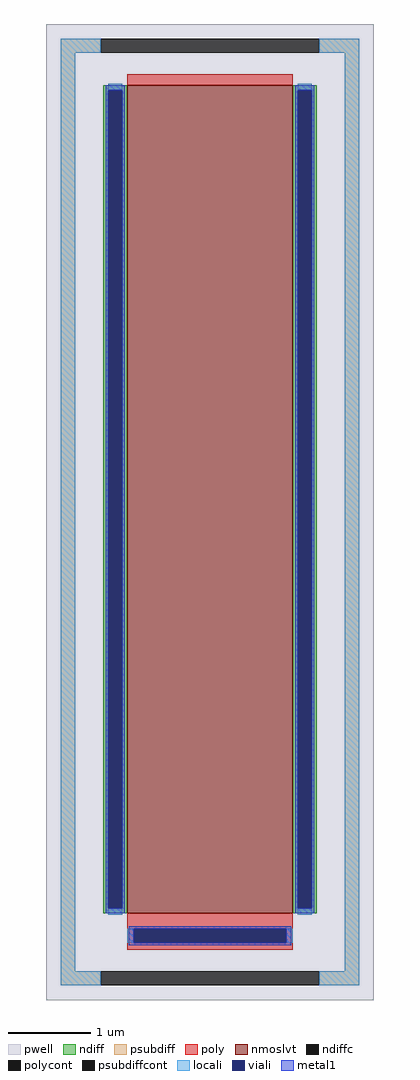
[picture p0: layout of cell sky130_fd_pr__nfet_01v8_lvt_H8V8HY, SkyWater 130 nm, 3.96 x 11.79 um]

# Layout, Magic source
magic
tech sky130A
magscale 1 2
<< pwell >>
rect -396 -1179 396 1179
<< nmoslvt >>
rect -200 -969 200 1031
<< ndiff >>
rect -258 1019 -200 1031
rect -258 -957 -246 1019
rect -212 -957 -200 1019
rect -258 -969 -200 -957
rect 200 1019 258 1031
rect 200 -957 212 1019
rect 246 -957 258 1019
rect 200 -969 258 -957
<< ndiffc >>
rect -246 -957 -212 1019
rect 212 -957 246 1019
<< psubdiff >>
rect -360 1109 -264 1143
rect 264 1109 360 1143
rect -360 -1109 -326 1109
rect 326 -1109 360 1109
rect -360 -1143 -264 -1109
rect 264 -1143 360 -1109
<< psubdiffcont >>
rect -264 1109 264 1143
rect -264 -1143 264 -1109
<< poly >>
rect -200 1031 200 1057
rect -200 -1007 200 -969
rect -200 -1041 -184 -1007
rect 184 -1041 200 -1007
rect -200 -1057 200 -1041
<< polycont >>
rect -184 -1041 184 -1007
<< locali >>
rect -360 1109 -264 1143
rect 264 1109 360 1143
rect -360 -1109 -326 1109
rect -246 1019 -212 1035
rect -246 -973 -212 -957
rect 212 1019 246 1035
rect 212 -973 246 -957
rect -200 -1041 -184 -1007
rect 184 -1041 200 -1007
rect 326 -1109 360 1109
rect -360 -1143 -264 -1109
rect 264 -1143 360 -1109
<< viali >>
rect -246 -957 -212 1019
rect 212 -957 246 1019
rect -184 -1041 184 -1007
<< metal1 >>
rect -252 1019 -206 1031
rect -252 -957 -246 1019
rect -212 -957 -206 1019
rect -252 -969 -206 -957
rect 206 1019 252 1031
rect 206 -957 212 1019
rect 246 -957 252 1019
rect 206 -969 252 -957
rect -196 -1007 196 -1001
rect -196 -1041 -184 -1007
rect 184 -1041 196 -1007
rect -196 -1047 196 -1041
<< properties >>
string FIXED_BBOX -343 -1126 343 1126
string gencell sky130_fd_pr__nfet_01v8_lvt
string library sky130
string parameters w 10 l 2 m 1 nf 1 diffcov 100 polycov 100 guard 1 glc 0 grc 0 gtc 1 gbc 1 tbcov 100 rlcov 100 topc 0 botc 1 poverlap 0 doverlap 1 lmin 0.15 wmin 0.42 compatible {sky130_fd_pr__nfet_01v8 sky130_fd_pr__nfet_01v8_lvt  sky130_fd_bs_flash__special_sonosfet_star  sky130_fd_pr__nfet_g5v0d10v5 sky130_fd_pr__nfet_05v0_nvt  sky130_fd_pr__nfet_03v3_nvt} full_metal 1 viasrc 100 viadrn 100 viagate 100 viagb 0 viagr 0 viagl 0 viagt 0
<< end >>
